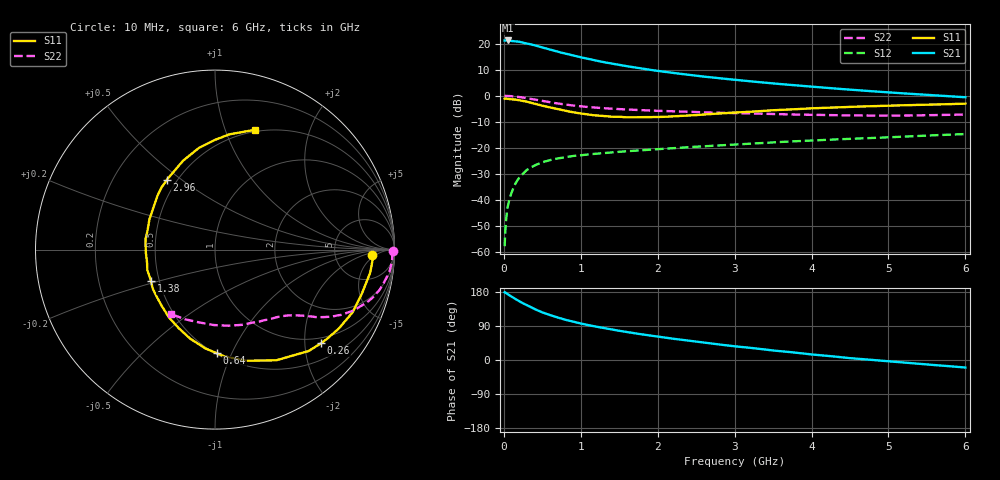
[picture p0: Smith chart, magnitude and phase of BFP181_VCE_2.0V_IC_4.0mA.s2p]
! Infineon Technologies  Discrete & RF Semiconductors
! BFP181
! VCE = 2.0 V,  IC =  4.0 mA
! Common Emitter S-Parameters:  Jan 2016
# GHz  S  MA  R  50
!  f  S11  S21  S12  S22
! GHz  MAG  ANG  MAG  ANG  MAG  ANG  MAG  ANG
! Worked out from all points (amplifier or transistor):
!   210 points, 10 MHz to 6 GHz, reference 50 ohm
!   highest |S21| = 21.2 dB at 50 MHz (marker M1)
!   |S21| within 3 dB of that: start of sweep to 538.9 MHz
!   unconditionally stable (mu >= 1): 1.781 GHz to end of sweep
!   at 185 MHz: K = 0.16, MSG = 26.4 dB, |S12| = -32.1 dB
!   at 1.52 GHz: K = 0.91, MSG = 16.6 dB, |S12| = -21.5 dB
!   at 6 GHz: K = 1.07, MAG = 5.5 dB, |S12| = -14.7 dB
!   S11 on the Smith chart (normalised r, x): 10 MHz: 14, -3; 260 MHz: 0.86, -2.38; 640 MHz: 0.51, -0.88; 1.38 GHz: 0.45, -0.19; 2.96 GHz: 0.44, +0.44; 6 GHz: 0.48, +1.27
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0.01  0.8727 -1.8  11.46 178.8  0.0013 80.7  0.9918 -0.6
0.025  0.8789 -4.4  11.45 177.1  0.0034 85.5  0.9878 -1.8
0.05  0.8743 -8.4  11.47 173.5  0.0074 89.3  0.9888 -3.6
0.145  0.8431 -23.7  11.06 161.7  0.0199 76.5  0.9643 -10.1
0.19  0.8216 -30.9  10.87 156.3  0.0255 72.8  0.9477 -13.0
0.26  0.7885 -41.4  10.31 148.5  0.0331 67.3  0.9157 -17.2
0.4  0.7052 -61.0  9.289 134.2  0.0459 59.0  0.8437 -23.7
0.5  0.6445 -73.9  8.422 125.6  0.053 53.1  0.7923 -27.3
0.64  0.578 -88.9  7.39 116.1  0.06 48.2  0.7321 -30.8
0.7  0.5535 -95.5  6.965 112.1  0.0626 46.4  0.7097 -32.0
0.8  0.5154 -105.5  6.436 106.2  0.0664 43.7  0.6774 -33.7
1.02  0.4517 -125.7  5.375 95.3  0.0725 40.1  0.6211 -36.4
1.16  0.4235 -137.4  4.864 89.5  0.0762 38.4  0.5956 -38.1
1.38  0.3973 -154.1  4.19 81.5  0.0812 36.7  0.5658 -40.3
1.7  0.3855 -177.1  3.484 70.6  0.0881 35.2  0.5347 -43.7
2.02  0.3905 164.5  2.964 61.3  0.0947 33.9  0.5118 -47.3
2.42  0.4166 145.2  2.502 50.6  0.1034 32.5  0.4897 -52.6
2.96  0.4708 125.0  2.049 37.2  0.1151 30.4  0.4631 -60.7
3.1  0.4828 120.6  1.957 34.3  0.1183 29.7  0.4572 -63.0
4.1  0.5795 97.2  1.452 12.9  0.1405 24.8  0.4273 -82.2
5.1  0.6511 81.8  1.132 -5.1  0.1616 19.7  0.4154 -104.3
6  0.7034 71.6  0.935 -19.9  0.1839 14.2  0.4352 -124.7
